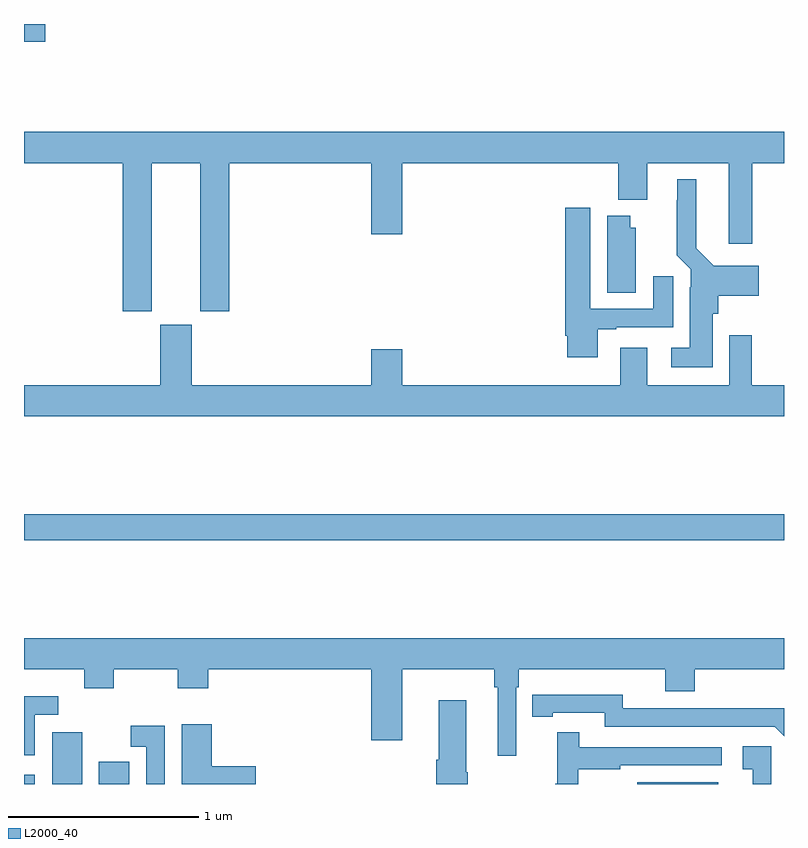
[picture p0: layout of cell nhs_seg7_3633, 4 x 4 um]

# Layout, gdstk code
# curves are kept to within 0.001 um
import gdstk
lib = gdstk.Library(unit=1e-6, precision=1e-09)
def R(c, l, rs):  # rectangles x0, y0, x1, y1
    for r in rs: c.add(gdstk.rectangle(r[:2], r[2:], *l))
def P(c, l, *ps):  # polygons
    for p in ps: c.add(gdstk.Polygon(p, *l))
L2000_40 = (2000, 40)

nhs_seg7_3633 = lib.new_cell('nhs_seg7_3633')
R(nhs_seg7_3633, L2000_40, [(343,1012,343.056,1012.048), (343.148,1012,343.306,1012.273), (343.394,1012,343.555,1012.116), (346.227,1012,346.654,1012.009), (343,1013.284,347,1013.42), (343,1015.906,343.111,1016)])
P(nhs_seg7_3633, L2000_40, [(343.672,1015.268),(343.928,1015.268),(343.928,1014.489),(344.081,1014.489),(344.081,1015.268),(344.828,1015.268),(344.828,1014.894),(344.992,1014.894),(344.992,1015.268),(346.127,1015.268),(346.127,1015.076),(346.279,1015.076),(346.279,1015.268),(346.709,1015.268),(346.709,1014.843),(346.832,1014.843),(346.832,1015.268),(347,1015.268),(347,1015.432),(343,1015.432),(343,1015.268),(343.52,1015.268),(343.52,1014.489),(343.672,1014.489)],
  [(346.624,1014.474),(346.655,1014.474),(346.655,1014.569),(346.867,1014.569),(346.867,1014.727),(346.629,1014.727),(346.537,1014.82),(346.537,1015.183),(346.439,1015.183),(346.439,1015.073),(346.435,1015.073),(346.435,1014.782),(346.509,1014.708),(346.509,1014.614),(346.505,1014.614),(346.505,1014.295),(346.407,1014.295),(346.407,1014.194),(346.624,1014.194)],
  [(346.021,1014.393),(346.117,1014.393),(346.117,1014.405),(346.417,1014.405),(346.417,1014.673),(346.313,1014.673),(346.313,1014.501),(345.979,1014.501),(345.979,1015.033),(345.848,1015.033),(345.848,1014.358),(345.86,1014.358),(345.86,1014.246),(346.021,1014.246)],
  [(346.219,1014.927),(346.192,1014.927),(346.192,1014.991),(346.07,1014.991),(346.07,1014.586),(346.219,1014.586)],
  [(347,1014.1),(346.829,1014.1),(346.829,1014.361),(346.713,1014.361),(346.713,1014.1),(346.279,1014.1),(346.279,1014.295),(346.139,1014.295),(346.139,1014.1),(344.992,1014.1),(344.992,1014.289),(344.828,1014.289),(344.828,1014.1),(343.882,1014.1),(343.882,1014.417),(343.718,1014.417),(343.718,1014.1),(343,1014.1),(343,1013.936),(347,1013.936)],
  [(345.591,1012.508),(345.605,1012.508),(345.605,1012.604),(346.376,1012.604),(346.376,1012.487),(346.529,1012.487),(346.529,1012.604),(347,1012.604),(347,1012.768),(343,1012.768),(343,1012.604),(343.318,1012.604),(343.318,1012.505),(343.473,1012.505),(343.473,1012.604),(343.81,1012.604),(343.81,1012.505),(343.97,1012.505),(343.97,1012.604),(344.828,1012.604),(344.828,1012.23),(344.992,1012.23),(344.992,1012.604),(345.475,1012.604),(345.475,1012.508),(345.494,1012.508),(345.494,1012.149),(345.591,1012.149)],
  [(347,1012.4),(346.612,1012.4),(346.612,1012.398),(346.152,1012.398),(346.152,1012.471),(345.676,1012.47),(345.676,1012.354),(345.784,1012.354),(345.784,1012.374),(346.056,1012.374),(346.056,1012.302),(346.95,1012.302),(347,1012.252)],
  [(343.056,1012.365),(343.18,1012.365),(343.18,1012.462),(343,1012.462),(343,1012.152),(343.056,1012.152)],
  [(345.336,1012.061),(345.328,1012.061),(345.328,1012.441),(345.182,1012.441),(345.182,1012.128),(345.17,1012.128),(345.17,1012),(345.336,1012)],
  [(344.221,1012.094),(343.988,1012.094),(343.988,1012.315),(343.829,1012.315),(343.829,1012),(344.221,1012)],
  [(343.74,1012.306),(343.563,1012.306),(343.563,1012.197),(343.644,1012.197),(343.644,1012),(343.74,1012)],
  [(345.916,1012.078),(346.139,1012.078),(346.139,1012.098),(346.672,1012.098),(346.672,1012.194),(345.923,1012.194),(345.923,1012.273),(345.806,1012.273),(345.806,1012.001),(345.795,1012.001),(345.795,1012),(345.916,1012)],
  [(346.932,1012.198),(346.782,1012.198),(346.782,1012.077),(346.835,1012.077),(346.835,1012),(346.932,1012)])

lib.write_gds('nhs_seg7_3633.gds')
